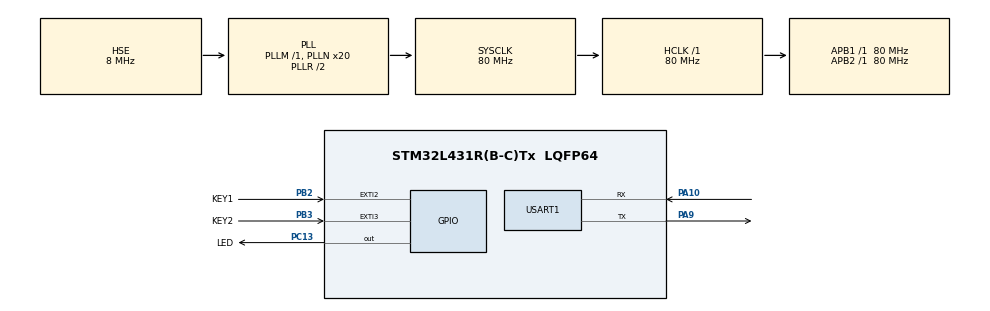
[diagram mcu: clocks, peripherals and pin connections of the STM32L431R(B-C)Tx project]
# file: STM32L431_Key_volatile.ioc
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Mcu.Family=STM32L4
Mcu.Name=STM32L431R(B-C)Tx
Mcu.Package=LQFP64
NVIC.EXTI2_IRQn=true\:1\:0\:true\:false\:true\:true\:true
NVIC.EXTI3_IRQn=true\:2\:0\:true\:false\:true\:true\:true
NVIC.PriorityGroup=NVIC_PRIORITYGROUP_2
NVIC.USART1_IRQn=true\:0\:0\:false\:false\:true\:true\:true
PA10.Mode=Asynchronous
PA10.Signal=USART1_RX
PA9.Mode=Asynchronous
PA9.Signal=USART1_TX
PB2.GPIO_Label=KEY1
PB2.GPIO_PuPd=GPIO_PULLUP
PB2.Signal=GPXTI2
PB3\ (JTDO-TRACESWO).GPIO_Label=KEY2
PB3\ (JTDO-TRACESWO).GPIO_PuPd=GPIO_PULLUP
PB3\ (JTDO-TRACESWO).Signal=GPXTI3
PC13.GPIO_Label=LED
PC13.Signal=GPIO_Output
PC14-OSC32_IN\ (PC14).Mode=LSE-External-Oscillator
PC14-OSC32_IN\ (PC14).Signal=RCC_OSC32_IN
PC15-OSC32_OUT\ (PC15).Mode=LSE-External-Oscillator
PC15-OSC32_OUT\ (PC15).Signal=RCC_OSC32_OUT
PH0-OSC_IN\ (PH0).Mode=HSE-External-Oscillator
PH0-OSC_IN\ (PH0).Signal=RCC_OSC_IN
PH1-OSC_OUT\ (PH1).Mode=HSE-External-Oscillator
PH1-OSC_OUT\ (PH1).Signal=RCC_OSC_OUT
ProjectManager.HeapSize=0x200
ProjectManager.StackSize=0x400
ProjectManager.TargetToolchain=MDK-ARM V5
RCC.ADCFreq_Value=32000000
RCC.AHBFreq_Value=80000000
RCC.APB1Freq_Value=80000000
RCC.APB1TimFreq_Value=80000000
RCC.APB2Freq_Value=80000000
RCC.APB2TimFreq_Value=80000000
RCC.CortexFreq_Value=80000000
RCC.HCLKFreq_Value=80000000
RCC.HSE_VALUE=8000000
RCC.HSI48_VALUE=48000000
RCC.HSI_VALUE=16000000
RCC.MSI_VALUE=4000000
RCC.PLLN=20
RCC.PLLSourceVirtual=RCC_PLLSOURCE_HSE
RCC.SYSCLKFreq_VALUE=80000000
RCC.SYSCLKSource=RCC_SYSCLKSOURCE_PLLCLK
RCC.VCOOutputFreq_Value=160000000
USART1.VirtualMode-Asynchronous=VM_ASYNC
board=custom

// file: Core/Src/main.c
/* USER CODE BEGIN Header */
/**
  ******************************************************************************
  * @file           : main.c
  * @brief          : Main program body
  ******************************************************************************
  * @attention
  *
  * <h2><center>&copy; Copyright (c) 2021 STMicroelectronics.
  * All rights reserved.</center></h2>
  *
  * This software component is licensed by ST under BSD 3-Clause license,
  * the "License"; You may not use this file except in compliance with the
  * License. You may obtain a copy of the License at:
  *                        opensource.org/licenses/BSD-3-Clause
  *
  ******************************************************************************
  */
/* USER CODE END Header */
#include "main.h"
#include "usart.h"
#include "gpio.h"

/* USER CODE BEGIN PTD */
char   cValue1;
char   volatile cValue2;
uint8_t hello[] = "USART1 is ready...\n";
uint8_t recv_buf[13] = {0};
/* USER CODE END PTD */

void SystemClock_Config(void);

/* USER CODE BEGIN 0 */
extern void v_IntOccured(void);
/* USER CODE END 0 */

int main(void)
{
  /* USER CODE BEGIN 1 */
	char cErg;
  /* USER CODE END 1 */

  /* MCU Configuration--------------------------------------------------------*/

  /* Reset of all peripherals, Initializes the Flash interface and the Systick. */
  HAL_Init();

  /* Configure the system clock */
  SystemClock_Config();

  /* Initialize all configured peripherals */
  MX_GPIO_Init();
  MX_USART1_UART_Init();
  /* USER CODE BEGIN 2 */
	//使能串口中断接收
  HAL_UART_Receive_IT(&huart1, (uint8_t*)recv_buf, 13);
  //发送提示信息
  HAL_UART_Transmit_IT(&huart1, (uint8_t*)hello, sizeof(hello));
  /* USER CODE END 2 */

  /* Infinite loop */
  while (1) {

    /* USER CODE BEGIN 3 */
		cErg = cValue1;
		if (cValue1 != cErg) {
			v_IntOccured();
		}
		cErg = cValue2;
		if (cValue2 != cErg) {
			HAL_UART_Transmit_IT(&huart1, (uint8_t*)hello, sizeof(hello));
			//v_IntOccured();
		}
	}
  /* USER CODE END 3 */
}

void SystemClock_Config(void)
{
  RCC_OscInitTypeDef RCC_OscInitStruct = {0};
  RCC_ClkInitTypeDef RCC_ClkInitStruct = {0};
  RCC_PeriphCLKInitTypeDef PeriphClkInit = {0};

  /** Initializes the RCC Oscillators according to the specified parameters
  * in the RCC_OscInitTypeDef structure.
  */
  RCC_OscInitStruct.OscillatorType = RCC_OSCILLATORTYPE_HSE;
  RCC_OscInitStruct.HSEState = RCC_HSE_ON;
  RCC_OscInitStruct.PLL.PLLState = RCC_PLL_ON;
  RCC_OscInitStruct.PLL.PLLSource = RCC_PLLSOURCE_HSE;
  RCC_OscInitStruct.PLL.PLLM = 1;
  RCC_OscInitStruct.PLL.PLLN = 20;
  RCC_OscInitStruct.PLL.PLLP = RCC_PLLP_DIV7;
  RCC_OscInitStruct.PLL.PLLQ = RCC_PLLQ_DIV2;
  RCC_OscInitStruct.PLL.PLLR = RCC_PLLR_DIV2;
  if (HAL_RCC_OscConfig(&RCC_OscInitStruct) != HAL_OK)
  {
    Error_Handler();
  }
  /** Initializes the CPU, AHB and APB buses clocks
  */
  RCC_ClkInitStruct.ClockType = RCC_CLOCKTYPE_HCLK|RCC_CLOCKTYPE_SYSCLK
                              |RCC_CLOCKTYPE_PCLK1|RCC_CLOCKTYPE_PCLK2;
  RCC_ClkInitStruct.SYSCLKSource = RCC_SYSCLKSOURCE_PLLCLK;
  RCC_ClkInitStruct.AHBCLKDivider = RCC_SYSCLK_DIV1;
  RCC_ClkInitStruct.APB1CLKDivider = RCC_HCLK_DIV1;
  RCC_ClkInitStruct.APB2CLKDivider = RCC_HCLK_DIV1;

  if (HAL_RCC_ClockConfig(&RCC_ClkInitStruct, FLASH_LATENCY_4) != HAL_OK)
  {
    Error_Handler();
  }
  PeriphClkInit.PeriphClockSelection = RCC_PERIPHCLK_USART1;
  PeriphClkInit.Usart1ClockSelection = RCC_USART1CLKSOURCE_PCLK2;
  if (HAL_RCCEx_PeriphCLKConfig(&PeriphClkInit) != HAL_OK)
  {
    Error_Handler();
  }
  /** Configure the main internal regulator output voltage
  */
  if (HAL_PWREx_ControlVoltageScaling(PWR_REGULATOR_VOLTAGE_SCALE1) != HAL_OK)
  {
    Error_Handler();
  }
}

/* USER CODE BEGIN 4 */
/**
 * @brief	EXIT中断回调函数
 * @param GPIO_Pin —— 触发中断的引脚
 * @retval	none
*/
void HAL_GPIO_EXTI_Callback(uint16_t GPIO_Pin)
{
	/* 判断哪个引脚触发了中断 */
	switch(GPIO_Pin)
	{
		case GPIO_PIN_2:
			/* 处理GPIO2发生的中断 */
			//点亮LED
			HAL_GPIO_WritePin(LED_GPIO_Port,LED_Pin,GPIO_PIN_SET);
			cValue1++;
			cValue2++;
			break;
		case GPIO_PIN_3:
			/* 处理GPIO3发生的中断 */
			//熄灭LED
			HAL_GPIO_WritePin(LED_GPIO_Port,LED_Pin,GPIO_PIN_RESET);
			break;
		default:
			break;
	}
}
//***************************************************************
// 函数： v_IntOccured()
// 版本：
// 参数：
// 用途： 死循环
//***************************************************************
void v_IntOccured()
{
	while(1) {
		HAL_UART_Transmit_IT(&huart1, (uint8_t*)hello, sizeof(hello));
	}
}
/* 中断回调函数 */
void HAL_UART_RxCpltCallback(UART_HandleTypeDef *huart)
{
	/* 判断是哪个串口触发的中断 */
	if(huart ->Instance == USART1)
	{
		//将接收到的数据发送
		HAL_UART_Transmit_IT(huart, (uint8_t*)recv_buf, 13);
		//重新使能串口接收中断
		HAL_UART_Receive_IT(huart, (uint8_t*)recv_buf, 13);
	}
}

/* USER CODE END 4 */

void Error_Handler(void)
{
  __disable_irq();
  while (1)
  {
  }
}

/************************ (C) COPYRIGHT STMicroelectronics *****END OF FILE****/
